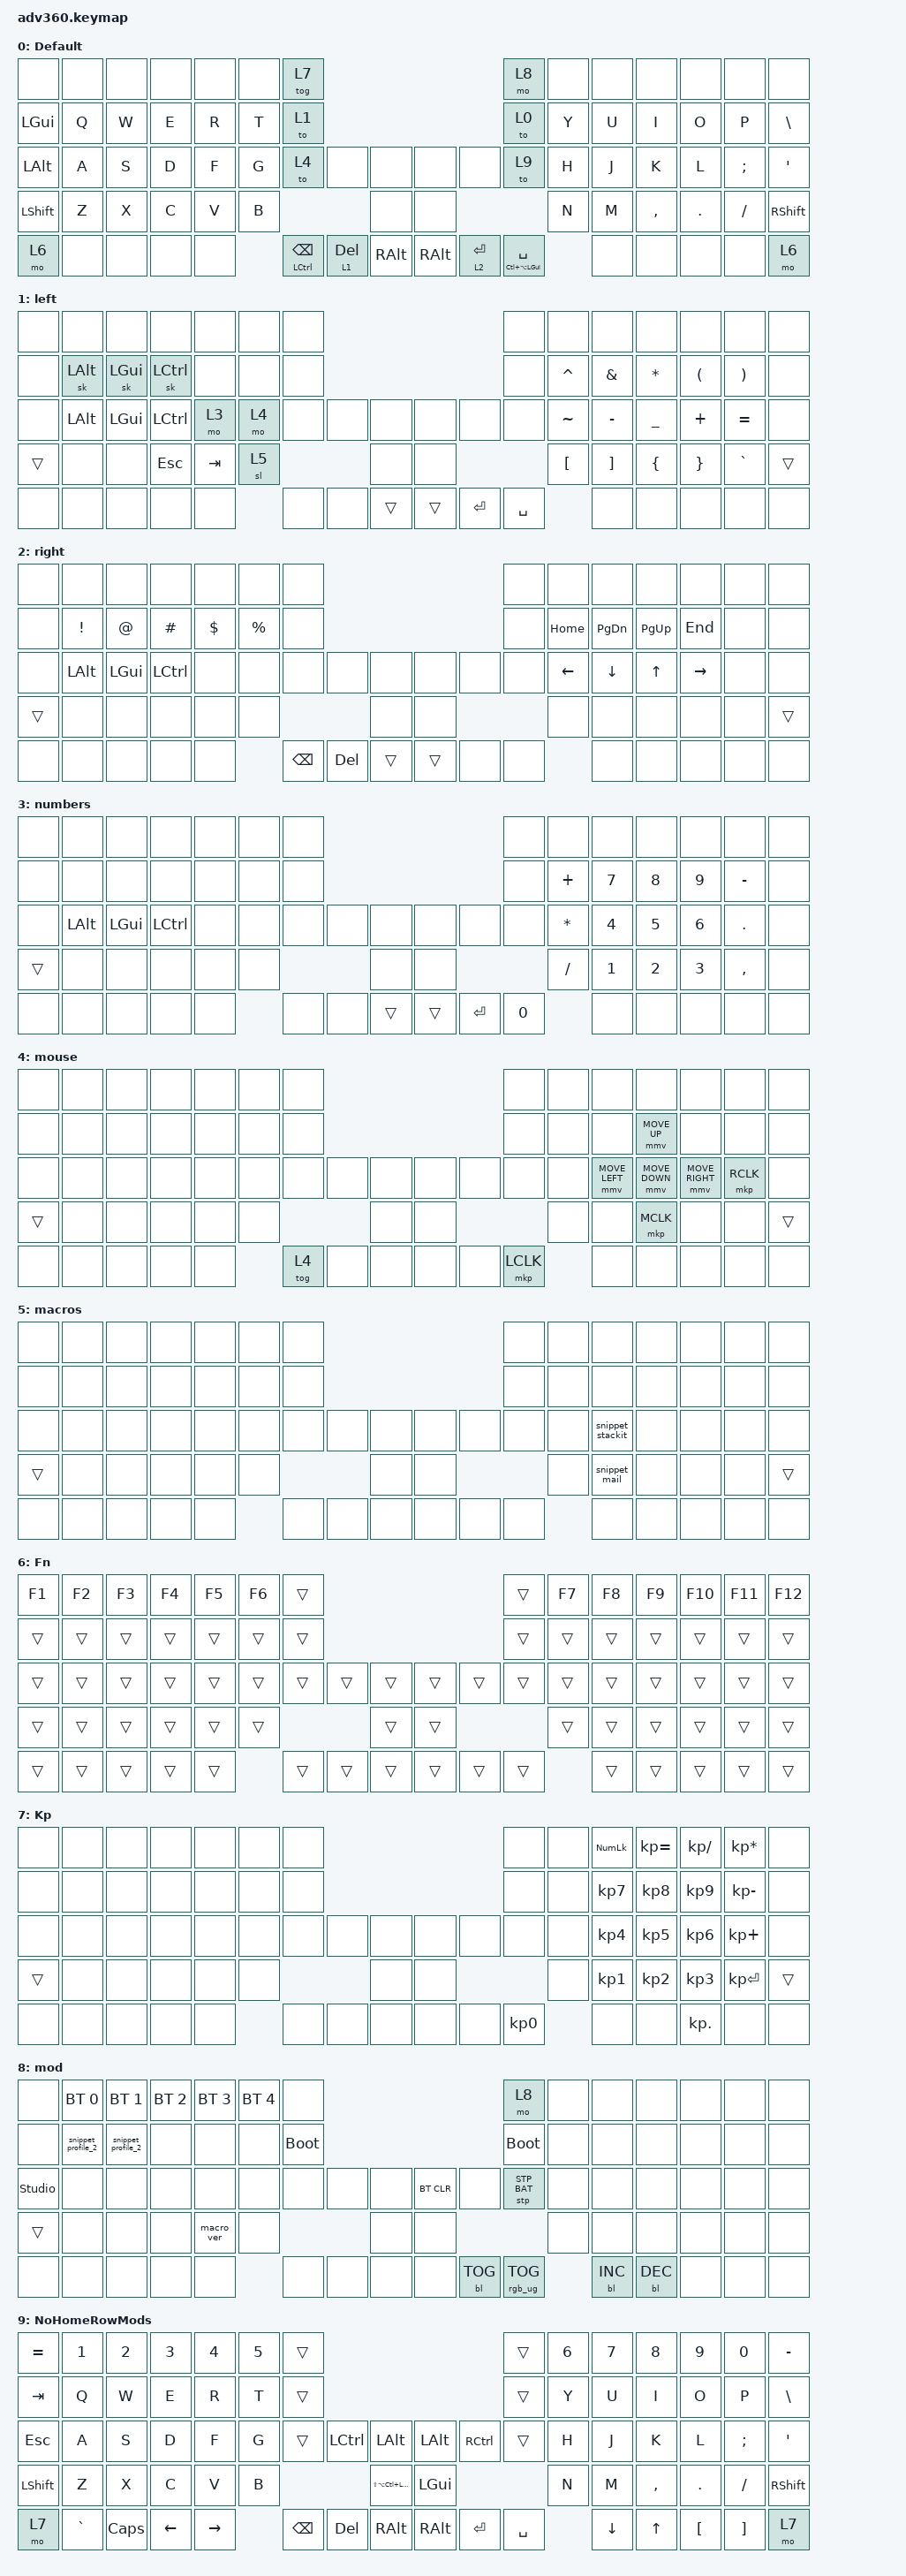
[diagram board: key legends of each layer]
#include <dt-bindings/zmk/stp.h>
#include <behaviors.dtsi>
#include <dt-bindings/zmk/backlight.h>
#include <dt-bindings/zmk/bt.h>
#include <dt-bindings/zmk/keys.h>
#include <dt-bindings/zmk/pointing.h>
#include <dt-bindings/zmk/rgb.h>

&lt {
    tapping-term-ms = <150>;
    flavor = "balanced";
};

/ {
    behaviors {
        #include "macros.dtsi"
      #include "version.dtsi"

        hm: homerow_mods {
            compatible = "zmk,behavior-hold-tap";
            label = "HOMEROW_MODS";
            #binding-cells = <2>;
            tapping-term-ms = <150>;
            flavor = "balanced";
            bindings = <&kp>, <&kp>;

            quick-tap-ms = <250>;
            require-prior-idle-ms = <200>;
        };

        hm_left: hm_left {
            compatible = "zmk,behavior-hold-tap";
            label = "HM_LEFT";
            #binding-cells = <2>;
            tapping-term-ms = <150>;
            flavor = "tap-preferred";
            bindings = <&kp>, <&kp>;

            quick-tap-ms = <250>;
            hold-trigger-key-positions = <22 23 24 25 26 40 41 42 43 44 54 55 56 57 58>;
            require-prior-idle-ms = <200>;
        };

        hm_right: hm_right {
            compatible = "zmk,behavior-hold-tap";
            label = "HM_RIGHT";
            #binding-cells = <2>;
            tapping-term-ms = <150>;
            flavor = "tap-preferred";
            bindings = <&kp>, <&kp>;

            quick-tap-ms = <250>;
            hold-trigger-key-positions = <15 16 17 18 29 30 31 32 47 48 49 50 19 33 51>;
            require-prior-idle-ms = <200>;
        };
    };

    combos {
        compatible = "zmk,combos";

        NumbersLayer {
            bindings = <&mo 3>;
            key-positions = <66 32>;
        };
    };

    macros {
        snippet_mail: snippet_mail {
            compatible = "zmk,behavior-macro";
            #binding-cells = <0>;
            bindings = <&kp M &kp A &kp I &kp L &kp AT &kp H &kp E &kp N &kp R &kp I &kp K &kp S &kp C &kp H &kp O &kp E &kp N &kp F &kp E &kp L &kp D &kp E &kp R &kp DOT &kp D &kp E>;
            label = "SNIPPET_MAIL";
        };

        snippet_stackit: snippet_stackit {
            compatible = "zmk,behavior-macro";
            #binding-cells = <0>;
            bindings = <&kp LS(S) &kp LS(T) &kp LS(A) &kp LS(C) &kp LS(K) &kp LS(I) &kp LS(T)>;
            label = "SNIPPET_STACKIT";
        };

        snippet_profile_1: snippet_profile_1 {
            compatible = "zmk,behavior-macro";
            #binding-cells = <0>;
            bindings = <&to 0 &bt BT_SEL 0>;
            label = "SNIPPET_PROFILE_1";
        };

        snippet_profile_2: snippet_profile_2 {
            compatible = "zmk,behavior-macro";
            #binding-cells = <0>;
            bindings = <&to 0 &bt BT_SEL 1>;
            label = "snippet_profile_2";
        };
    };

    keymap {
        compatible = "zmk,keymap";

        default {
            display-name = "Default";
            bindings = <
&none         &none  &none  &none  &none  &none  &tog 7                                                                    &mo 8                   &none  &none  &none      &none    &none      &none
&kp LGUI      &kp Q  &kp W  &kp E  &kp R  &kp T  &to 1                                                                     &to 0                   &kp Y  &kp U  &kp I      &kp O    &kp P      &kp BACKSLASH
&kp LEFT_ALT  &kp A  &kp S  &kp D  &kp F  &kp G  &to 4                &none      &none         &none          &none        &to 9                   &kp H  &kp J  &kp K      &kp L    &kp SEMI   &kp SINGLE_QUOTE
&kp LSHIFT    &kp Z  &kp X  &kp C  &kp V  &kp B                                  &none         &none                                               &kp N  &kp M  &kp COMMA  &kp DOT  &kp SLASH  &kp RSHIFT
&mo 6         &none  &none  &none  &none         &hm LCTRL BACKSPACE  &lt 1 DEL  &kp RALT      &kp RIGHT_ALT  &lt 2 ENTER  &hm LC(LA(LGUI)) SPACE         &none  &none      &none    &none      &mo 6
            >;
        };

        left {
            bindings = <
&none   &none     &none     &none      &none    &none  &none                                        &none      &none             &none              &none         &none     &none      &none
&none   &sk LALT  &sk LGUI  &sk LCTRL  &none    &none  &none                                        &none      &kp CARET         &kp AMPERSAND      &kp ASTERISK  &kp LPAR  &kp RPAR   &none
&none   &kp LALT  &kp LGUI  &kp LCTRL  &mo 3    &mo 4  &none  &none  &none       &none   &none      &none      &kp TILDE         &kp MINUS          &kp UNDER     &kp PLUS  &kp EQUAL  &none
&trans  &none     &none     &kp ESC    &kp TAB  &sl 5                &none       &none                         &kp LEFT_BRACKET  &kp RIGHT_BRACKET  &kp LBRC      &kp RBRC  &kp GRAVE  &trans
&none   &none     &none     &none      &none           &none  &none  &trans      &trans  &kp ENTER  &kp SPACE                    &none              &none         &none     &none      &none
            >;
        };

        right {
            bindings = <
&none   &none            &none     &none      &none       &none        &none                                              &none  &none     &none      &none      &none      &none  &none
&none   &kp EXCLAMATION  &kp AT    &kp HASH   &kp DOLLAR  &kp PERCENT  &none                                              &none  &kp HOME  &kp PG_DN  &kp PG_UP  &kp END    &none  &none
&none   &kp LALT         &kp LGUI  &kp LCTRL  &none       &none        &none          &none    &none       &none   &none  &none  &kp LEFT  &kp DOWN   &kp UP     &kp RIGHT  &none  &none
&trans  &none            &none     &none      &none       &none                                &none       &none                 &none     &none      &none      &none      &none  &trans
&none   &none            &none     &none      &none                    &kp BACKSPACE  &kp DEL  &trans      &trans  &none  &none            &none      &none      &none      &none  &none
            >;
        };

        numbers {
            bindings = <
&none   &none     &none     &none      &none  &none  &none                                        &none   &none         &none   &none   &none   &none      &none
&none   &none     &none     &none      &none  &none  &none                                        &none   &kp PLUS      &kp N7  &kp N8  &kp N9  &kp MINUS  &none
&none   &kp LALT  &kp LGUI  &kp LCTRL  &none  &none  &none  &none  &none       &none   &none      &none   &kp ASTERISK  &kp N4  &kp N5  &kp N6  &kp DOT    &none
&trans  &none     &none     &none      &none  &none                &none       &none                      &kp SLASH     &kp N1  &kp N2  &kp N3  &kp COMMA  &none
&none   &none     &none     &none      &none         &none  &none  &trans      &trans  &kp ENTER  &kp N0                &none   &none   &none   &none      &none
            >;
        };

        mouse {
            bindings = <
&none   &none  &none  &none  &none  &none  &none                                   &none      &none  &none           &none           &none            &none      &none
&none   &none  &none  &none  &none  &none  &none                                   &none      &none  &none           &mmv MOVE_UP    &none            &none      &none
&none   &none  &none  &none  &none  &none  &none   &none  &none      &none  &none  &none      &none  &mmv MOVE_LEFT  &mmv MOVE_DOWN  &mmv MOVE_RIGHT  &mkp RCLK  &none
&trans  &none  &none  &none  &none  &none                 &none      &none                    &none  &none           &mkp MCLK       &none            &none      &trans
&none   &none  &none  &none  &none         &tog 4  &none  &none      &none  &none  &mkp LCLK         &none           &none           &none            &none      &none
            >;
        };

        macros {
            bindings = <
&none   &none  &none  &none  &none  &none  &none                                  &none  &none  &none             &none  &none  &none  &none
&none   &none  &none  &none  &none  &none  &none                                  &none  &none  &none             &none  &none  &none  &none
&none   &none  &none  &none  &none  &none  &none  &none  &none      &none  &none  &none  &none  &snippet_stackit  &none  &none  &none  &none
&trans  &none  &none  &none  &none  &none                &none      &none                &none  &snippet_mail     &none  &none  &none  &trans
&none   &none  &none  &none  &none         &none  &none  &none      &none  &none  &none         &none             &none  &none  &none  &none
            >;
        };

        fn {
            display-name = "Fn";
            bindings = <
&kp F1  &kp F2  &kp F3  &kp F4  &kp F5  &kp F6  &trans                                      &trans  &kp F7  &kp F8  &kp F9  &kp F10  &kp F11  &kp F12
&trans  &trans  &trans  &trans  &trans  &trans  &trans                                      &trans  &trans  &trans  &trans  &trans   &trans   &trans
&trans  &trans  &trans  &trans  &trans  &trans  &trans  &trans  &trans      &trans  &trans  &trans  &trans  &trans  &trans  &trans   &trans   &trans
&trans  &trans  &trans  &trans  &trans  &trans                  &trans      &trans                  &trans  &trans  &trans  &trans   &trans   &trans
&trans  &trans  &trans  &trans  &trans          &trans  &trans  &trans      &trans  &trans  &trans          &trans  &trans  &trans   &trans   &trans
            >;
        };

        keypad {
            display-name = "Kp";
            bindings = <
&none   &none  &none  &none  &none  &none  &none                                  &none      &none  &kp KP_NUM  &kp KP_EQUAL  &kp KP_DIVIDE  &kp KP_MULTIPLY  &none
&none   &none  &none  &none  &none  &none  &none                                  &none      &none  &kp KP_N7   &kp KP_N8     &kp KP_N9      &kp KP_MINUS     &none
&none   &none  &none  &none  &none  &none  &none  &none  &none      &none  &none  &none      &none  &kp KP_N4   &kp KP_N5     &kp KP_N6      &kp KP_PLUS      &none
&trans  &none  &none  &none  &none  &none                &none      &none                    &none  &kp KP_N1   &kp KP_N2     &kp KP_N3      &kp KP_ENTER     &trans
&none   &none  &none  &none  &none         &none  &none  &none      &none  &none  &kp KP_N0         &none       &none         &kp KP_DOT     &none            &none
            >;
        };

        mod {
            display-name = "mod";
            bindings = <
&none           &bt BT_SEL 0        &bt BT_SEL 1        &bt BT_SEL 2  &bt BT_SEL 3  &bt BT_SEL 4  &none                                                  &mo 8            &none  &none       &none       &none  &none  &none
&none           &snippet_profile_2  &snippet_profile_2  &none         &none         &none         &bootloader                                            &bootloader      &none  &none       &none       &none  &none  &none
&studio_unlock  &none               &none               &none         &none         &none         &none        &none  &none      &bt BT_CLR  &none       &stp STP_BAT     &none  &none       &none       &none  &none  &none
&trans          &none               &none               &none         &macro_ver    &none                             &none      &none                                    &none  &none       &none       &none  &none  &none
&none           &none               &none               &none         &none                       &none        &none  &none      &none       &bl BL_TOG  &rgb_ug RGB_TOG         &bl BL_INC  &bl BL_DEC  &none  &none  &none
            >;
        };

        no_home_row_mods {
            display-name = "NoHomeRowMods";
            bindings = <
&kp EQUAL  &kp N1     &kp N2    &kp N3    &kp N4     &kp N5  &trans                                                              &trans     &kp N6  &kp N7    &kp N8     &kp N9    &kp N0    &kp MINUS
&kp TAB    &kp Q      &kp W     &kp E     &kp R      &kp T   &trans                                                              &trans     &kp Y   &kp U     &kp I      &kp O     &kp P     &kp BSLH
&kp ESC    &kp A      &kp S     &kp D     &kp F      &kp G   &trans    &kp LCTRL  &kp LALT                  &kp LALT  &kp RCTRL  &trans     &kp H   &kp J     &kp K      &kp L     &kp SEMI  &kp SQT
&kp LSHFT  &kp Z      &kp X     &kp C     &kp V      &kp B                        &kp LS(LA(LC(LGUI)))      &kp LGUI                        &kp N   &kp M     &kp COMMA  &kp DOT   &kp FSLH  &kp RSHFT
&mo 7      &kp GRAVE  &kp CAPS  &kp LEFT  &kp RIGHT          &kp BSPC  &kp DEL    &kp RALT                  &kp RALT  &kp ENTER  &kp SPACE          &kp DOWN  &kp UP     &kp LBKT  &kp RBKT  &mo 7
            >;
        };
    };
};
